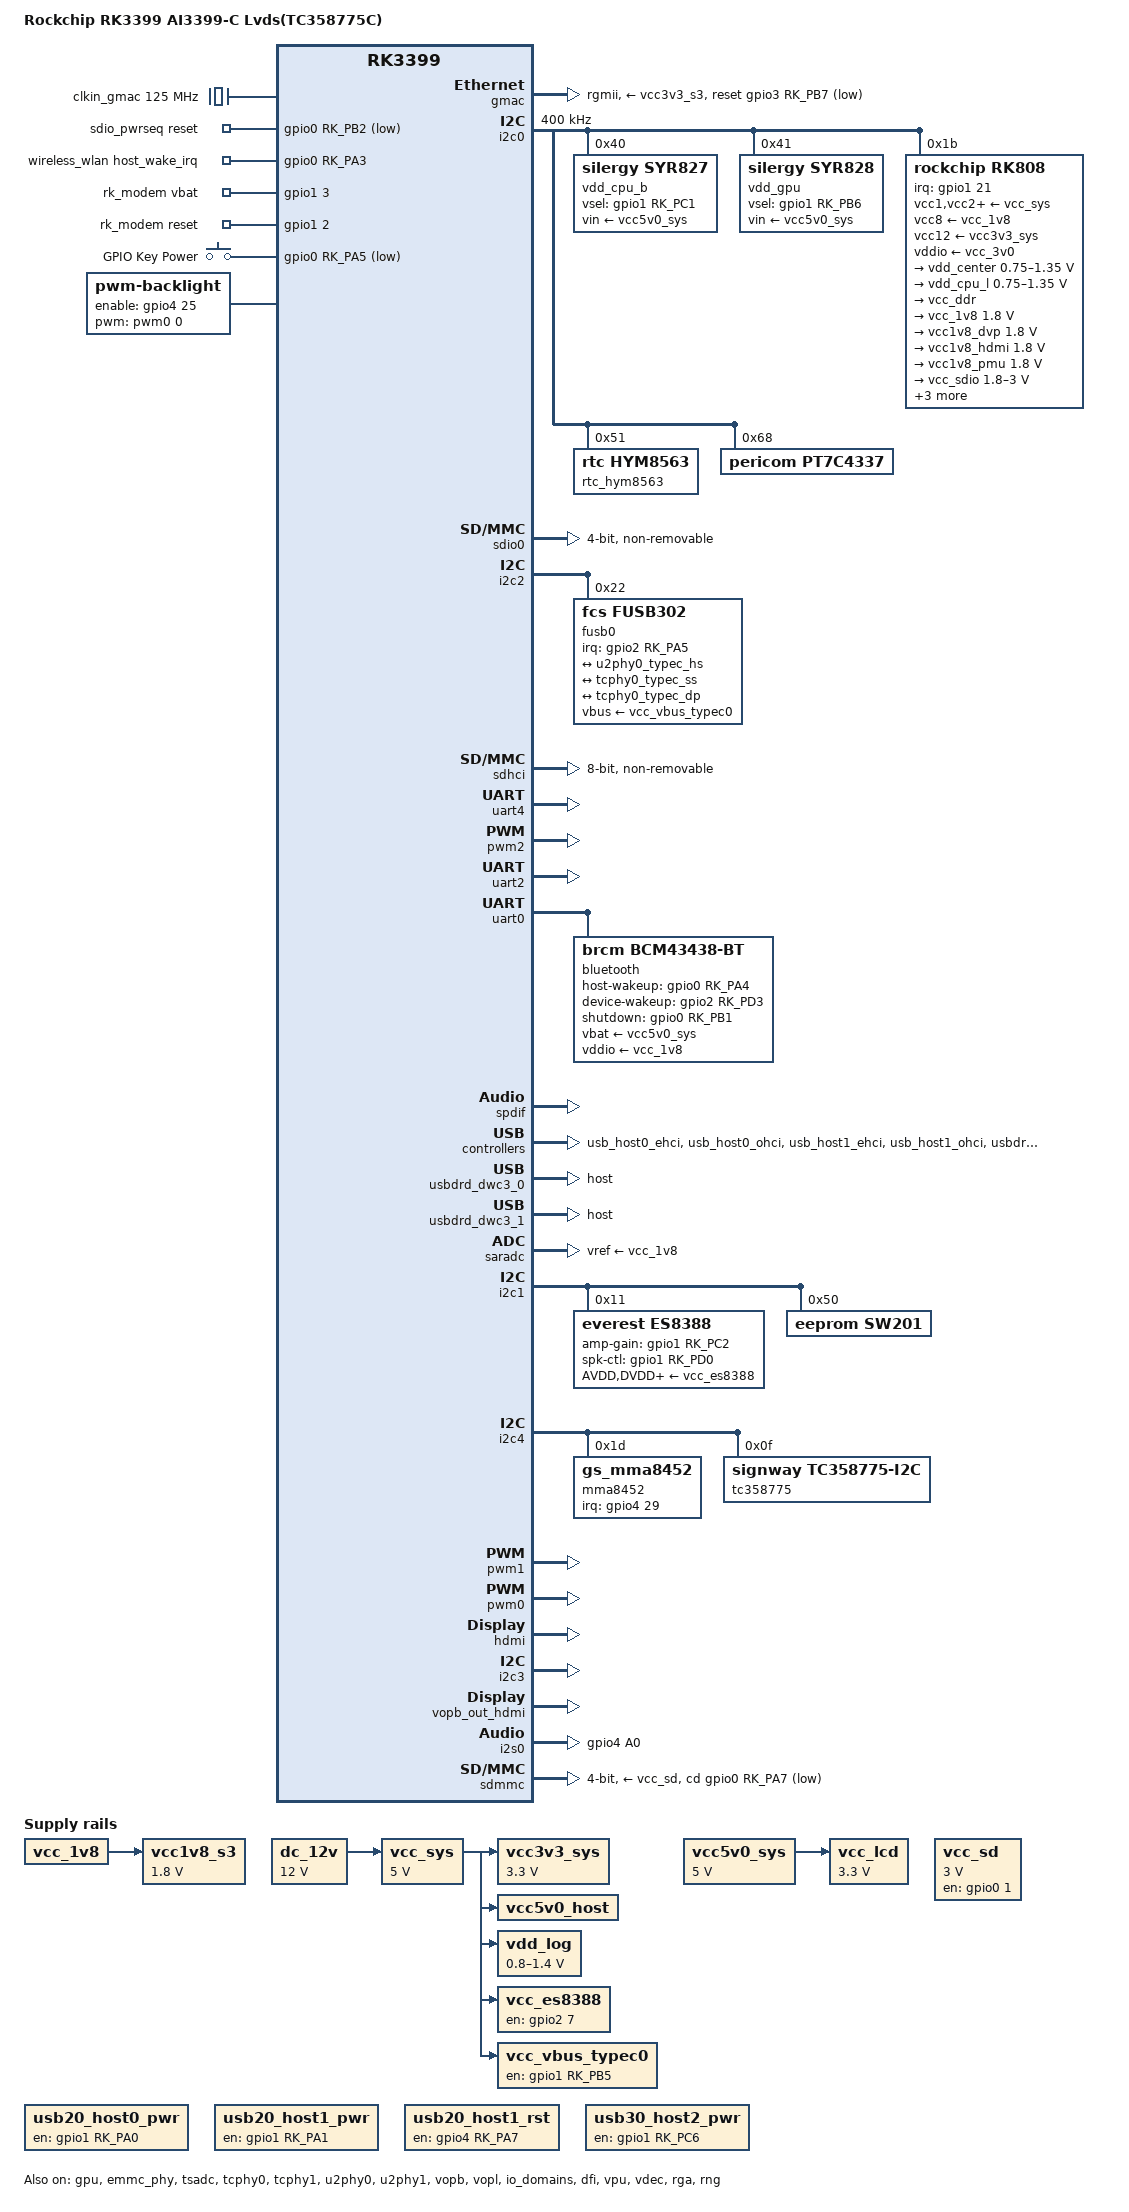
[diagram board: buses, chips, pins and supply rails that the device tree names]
/dts-v1/;
#include <dt-bindings/pwm/pwm.h>
#include <dt-bindings/input/input.h>
#include <dt-bindings/usb/pd.h>
#include "rk3399.dtsi"
#include "rk3399-opp.dtsi"

/ {
	compatible = "rockchip,android", "rockchip,rk3399-ai3399c-lvds", "rockchip,rk3399";
	serial-number = "STVQPGOW8K";
	model = "Rockchip RK3399 AI3399-C Lvds(TC358775C)";
	signway,hwid = "01.02.03.04.05.06.07.08";

	aliases {
		mmc0 = &sdhci;
	};

	chosen {
		stdout-path = "serial2:1500000n8";
		bootargs = "earlycon=uart8250,mmio32,0xff1a0000 console=ttyS2,1500000n8";
	};

	clkin_gmac: external-gmac-clock {
		compatible = "fixed-clock";
		clock-frequency = <125000000>;
		clock-output-names = "clkin_gmac";
		#clock-cells = <0>;
	};

    dc_12v: dc-12v {
        compatible = "regulator-fixed";
        regulator-name = "dc_12v";
        regulator-always-on;
        regulator-boot-on;
        regulator-min-microvolt = <12000000>;
        regulator-max-microvolt = <12000000>;
    };
    vcc1v8_s3: vcc1v8-s3 {
        compatible = "regulator-fixed";
        regulator-name = "vcc1v8_s3";
        regulator-always-on;
        regulator-boot-on;
        regulator-min-microvolt = <1800000>;
        regulator-max-microvolt = <1800000>;
        vin-supply = <&vcc_1v8>;
    };
    vcc_sys: vcc-sys {
        compatible = "regulator-fixed";
        regulator-name = "vcc_sys";
        regulator-always-on;
        regulator-boot-on;
        regulator-min-microvolt = <5000000>;
        regulator-max-microvolt = <5000000>;
        vin-supply = <&dc_12v>;
    };
    vcc3v3_sys: vcc3v3-sys {
        compatible = "regulator-fixed";
        regulator-name = "vcc3v3_sys";
        regulator-always-on;
        regulator-boot-on;
        regulator-min-microvolt = <3300000>;
        regulator-max-microvolt = <3300000>;
        vin-supply = <&vcc_sys>;
    };
    vcc5v0_host: vcc5v0-host-regulator {
        compatible = "regulator-fixed";
        regulator-name = "vcc5v0_host";
        regulator-always-on;
        vin-supply = <&vcc_sys>;
    };
    vcc5v0_sys: vcc5v0-sys {
        compatible = "regulator-fixed";
        regulator-name = "vcc5v0_sys";
        regulator-always-on;
        regulator-boot-on;
        regulator-min-microvolt = <5000000>;
        regulator-max-microvolt = <5000000>;
    };
    vdd_log: vdd-log {
        compatible = "pwm-regulator";
        pwms = <&pwm2 0x0 25000 0x1>;
        rockchip,pwm_id = <2>;
        rockchip,pwm_voltage = <1000000>;
        regulator-name = "vdd_log";
        regulator-always-on;
        regulator-boot-on;
        regulator-min-microvolt = <800000>;
        regulator-max-microvolt = <1400000>;
        vin-supply = <&vcc_sys>;
    };
    vcc_es8388: vcc-es8388-regulator {
        compatible = "regulator-fixed";
        enable-active-high;
        gpio = <&gpio2 7 GPIO_ACTIVE_HIGH>;
        pinctrl-names = "default";
        pinctrl-0 = <&es8388_en>; //待引用
        regulator-name = "vcc_es8388";
		regulator-boot-on;
        regulator-always-on;
        vin-supply = <&vcc_sys>;
    };
    vcc_sd: vcc-sd {
        compatible = "regulator-fixed";
        enable-active-high;
        gpio = <&gpio0 1 GPIO_ACTIVE_HIGH>;
        pinctrl-names = "default";
        pinctrl-0 = <&sdmmc0_pwr_h>;//待引用
        regulator-always-on;
        regulator-max-microvolt = <3000000>;
        regulator-min-microvolt = <3000000>;
        regulator-name = "vcc_sd";
    };
    vcc_lcd: vcc-lcd {
        compatible = "regulator-fixed";
        regulator-name = "vcc_lcd";
        startup-delay-us = <20000>;
        regulator-min-microvolt = <3300000>;
        regulator-max-microvolt = <3300000>;
        regulator-always-on;
        regulator-boot-on;
        vin-supply = <&vcc5v0_sys>;
    };
	sdio_pwrseq: sdio-pwrseq {
		compatible = "mmc-pwrseq-simple";
		clocks = <&rk808 1>;
		clock-names = "ext_clock";
		pinctrl-names = "default";
        pinctrl-0 = <&wifi_enable_h>;//待引用
        reset-gpios = <&gpio0 RK_PB2 GPIO_ACTIVE_LOW>;
	};
	//测试下wifi
    wireless_wlan: wireless-wlan {//抄袭
        compatible = "wlan-platdata";
        rockchip,grf = <&grf>;//待引用
        wifi_chip_type = "rtl8723ds";
		pinctrl-0 = <&wifi_host_wake_l>;
        WIFI,host_wake_irq = <&gpio0 RK_PA3 GPIO_ACTIVE_HIGH>;//待引用
        status = "okay";
    };
	/*
    wireless_bluetooth: wireless-bluetooth {
        compatible = "bluetooth-platdata";
        clocks = <&rk808 1>;
        clock-names = "ext_clock";
        uart_rts_gpios = <&gpio2 19 GPIO_ACTIVE_LOW>;
        pinctrl-names = "default\0rts_gpio";
        pinctrl-0 = <&uart0_rts>;//待引用
        pinctrl-1 = <&uart0_gpios &bt_rst>;//待引用
        BT,reset_gpio = <&gpio0 9 GPIO_ACTIVE_HIGH>;
        BT,wake_gpio = <&gpio2 27 GPIO_ACTIVE_HIGH>;
        BT,wake_host_irq = <&gpio0 4 GPIO_ACTIVE_HIGH>;
        status = "okay";
    };*/
	//改供电
	usb20_host0_pwr {
		status = "okay";
		compatible = "regulator-fixed";
		enable-active-high;
		gpio = <&gpio1 RK_PA0 GPIO_ACTIVE_HIGH>;
		pinctrl-0 = <&usb20_host0_pwr_gpio>;
		pinctrl-names = "default";
		regulator-name = "usb20_host0_pwr";
		regulator-always-on;
	};
	usb20_host1_pwr {
		status = "okay";
		compatible = "regulator-fixed";
		enable-active-high;
		gpio = <&gpio1 RK_PA1 GPIO_ACTIVE_HIGH>;
		pinctrl-0 = <&usb20_host1_pwr_gpio>;
		pinctrl-names = "default";
		regulator-name = "usb20_host1_pwr";
		regulator-always-on;
	};
	usb20_host1_rst {
		status = "okay";
		compatible = "regulator-fixed";
		enable-active-high;
		gpio = <&gpio4 RK_PA7 GPIO_ACTIVE_HIGH>;
		pinctrl-0 = <&usb20_host1_rst_gpio>;
		pinctrl-names = "default";
		regulator-name = "usb20_host1_rst";
		regulator-always-on;
	};
	usb30_host2_pwr {
		status = "okay";
		compatible = "regulator-fixed";
		enable-active-high;
		gpio = <&gpio1 RK_PC6 GPIO_ACTIVE_HIGH>;
		pinctrl-0 = <&usb30_host2_pwr_gpio>;
		pinctrl-names = "default";
		regulator-name = "usb30_host2_pwr";
		regulator-always-on;
	};
	vcc_vbus_typec0: vcc-vbus-typec0 {
		compatible = "regulator-fixed";
		enable-active-high;
		gpio = <&gpio1 RK_PB5 GPIO_ACTIVE_HIGH>;
		pinctrl-names = "default";
		pinctrl-0 = <&vcc_vbus_typec0_en>;
		regulator-name = "vcc_vbus_typec0";
		//这里要修改,不需要常亮
		//regulator-always-on;
		vin-supply = <&vcc_sys>;
	};
	//可能没驱动,注意,可能需要替换成 gpio-leds
	/*
    signway_gpio: signway-gpio {
        status = "okay";
        compatible = "signway,gpio";
        usb20-host0-pwr {
            label = "usb20-host0-pwr";
            gpios = <&gpio1 0 GPIO_ACTIVE_HIGH>;
            default-state = <0x1>;
        };
        usb20-host1-pwr {
            label = "usb20-host1-pwr";
            gpios = <&gpio1 1 GPIO_ACTIVE_HIGH>;
            default-state = <0x1>;
        };
        usb20-host1-rst {
            label = "usb20-host1-rst";
            gpios = <&gpio4 7 GPIO_ACTIVE_HIGH>;
            default-state = <0x1>;
        };
        usb30-host2-pwr {
            label = "usb30-host2-pwr";
            gpios = <&gpio1 22 GPIO_ACTIVE_HIGH>;
            default-state = <0x1>;
        };
    };*/
    rk_modem: rk-modem {
        compatible = "4g-modem-platdata";
        pinctrl-names = "default";
        pinctrl-0 = <&lte_vbat &lte_reset>;//待引用
        4G,vbat-gpio = <&gpio1 3 GPIO_ACTIVE_HIGH>;
        4G,reset-gpio = <&gpio1 2 GPIO_ACTIVE_HIGH>;
        status = "okay";
    };
	es8388_sound: es8388-sound {
        compatible = "simple-audio-card";
        simple-audio-card,format = "i2s";
        simple-audio-card,name = "rockchip,es8388-codec";
        simple-audio-card,mclk-fs = <0x100>;
		simple-audio-card,widgets = "Microphone", "Mic Jack", 
									"Headphone", "Headphone Jack";
		simple-audio-card,routing = "Mic Jack", "MICBIAS1", "IN1P","Mic Jack", 
									"Headphone Jack", "HPOL", "Headphone Jack", "HPOR";
        status = "okay";
        simple-audio-card,cpu {
            sound-dai = <&i2s0>;
        };
        simple-audio-card,codec {
            sound-dai = <&es8388>;
        };
	};
	gpio-keys {
		compatible = "gpio-keys";
		autorepeat;
		pinctrl-names = "default";
		pinctrl-0 = <&pwr_btn>;
		status = "okay";

		power {
			debounce-interval = <0x64>;
			gpios = <&gpio0 RK_PA5 GPIO_ACTIVE_LOW>;
			
			label = "GPIO Key Power";
			linux,code = <0x74>;
			wakeup-source;
		};
	};
    backlight {
		//暂时禁用,因为没人用
        //status = "okay";
		status = "okay";
        compatible = "pwm-backlight";
        brightness-levels = <0x2F 0x2F 0x2F 0x2F 0x2F 0x2F 0x30 0x30 0x31 0x31 0x32 0x32 0x33 0x33 0x34 0x34 0x35 0x35 0x36 0x36 0x37 0x37 0x38 0x38 0x39 0x39 0x3A 0x3A 0x3B 0x3B 0x3C 0x3C 0x3D 0x3D 0x3E 0x3E 0x3F 0x3F 0x40 0x40 0x41 0x41 0x42 0x42 0x43 0x43 0x44 0x44 0x45 0x45 0x46 0x46 0x47 0x47 0x48 0x48 0x49 0x49 0x4A 0x4A 0x4B 0x4B 0x4C 0x4C 0x4D 0x4D 0x4E 0x4E 0x4F 0x4F 0x50 0x50 0x51 0x51 0x52 0x52 0x53 0x53 0x54 0x54 0x55 0x55 0x56 0x56 0x57 0x57 0x58 0x58 0x59 0x59 0x5A 0x5B 0x5C 0x5D 0x5E 0x5F 0x60 0x61 0x62 0x63 0x64 0x65 0x66 0x67 0x68 0x69 0x6A 0x6B 0x6C 0x6D 0x6E 0x6F 0x70 0x71 0x72 0x73 0x74 0x75 0x76 0x77 0x78 0x79 0x7A 0x7B 0x7C 0x7D 0x7E 0x7F 0x80 0x81 0x82 0x83 0x84 0x85 0x86 0x87 0x88 0x89 0x8A 0x8B 0x8C 0x8D 0x8E 0x8F 0x90 0x91 0x92 0x93 0x94 0x95 0x96 0x97 0x98 0x99 0x9A 0x9B 0x9C 0x9D 0x9E 0x9F 0xA0 0xA1 0xA2 0xA3 0xA4 0xA5 0xA6 0xA7 0xA8 0xA9 0xAA 0xAB 0xAC 0xAD 0xAE 0xAF 0xB0 0xB1 0xB2 0xB3 0xB4 0xB5 0xB6 0xB7 0xB8 0xB9 0xBA 0xBB 0xBC 0xBD 0xBE 0xBF 0xC0 0xC1 0xC2 0xC3 0xC4 0xC5 0xC6 0xC7 0xC8 0xC9 0xCA 0xCB 0xCC 0xCD 0xCE 0xCF 0xD0 0xD1 0xD2 0xD3 0xD4 0xD5 0xD6 0xD7 0xD8 0xD9 0xDA 0xDB 0xDC 0xDD 0xDE 0xDF 0xE0 0xE1 0xE2 0xE3 0xE4 0xE5 0xE6 0xE7 0xE8 0xE9 0xEA 0xEB 0xEC 0xED 0xEE 0xEF 0xF0 0xF1 0xF2 0xF3 0xF4 0xF5 0xF6 0xF7 0xF8 0xF9 0xFA 0xFB 0xFC 0xFD 0xFE 0xFF>;
        default-brightness-level = <200>;
        enable-gpios = <&gpio4 25 GPIO_ACTIVE_HIGH>;
		//pinctrl-names = "default";
		//pinctrl-0 = <&backlight_ctrl>;
        pwms = <&pwm0 0 5000000 1>;
    };
};

&cpu_l0 {
	cpu-supply = <&vdd_cpu_l>;
};

&cpu_l1 {
	cpu-supply = <&vdd_cpu_l>;
};

&cpu_l2 {
	cpu-supply = <&vdd_cpu_l>;
};

&cpu_l3 {
	cpu-supply = <&vdd_cpu_l>;
};

&cpu_b0 {
	cpu-supply = <&vdd_cpu_b>;
};

&cpu_b1 {
	cpu-supply = <&vdd_cpu_b>;
};

&gpu {
	mali-supply = <&vdd_gpu>;
	status = "okay";
};

&emmc_phy {
	status = "okay";
};

&gmac {
	phy-supply = <&vcc3v3_s3>;
	phy-mode = "rgmii";
	clock_in_out = "input";
	snps,reset-gpio = <&gpio3 RK_PB7 GPIO_ACTIVE_LOW>;
	snps,reset-active-low;
	snps,reset-delays-us = <0 10000 50000>;
	assigned-clocks = <&cru SCLK_RMII_SRC>;
	assigned-clock-parents = <&clkin_gmac>;
	pinctrl-names = "default";
	pinctrl-0 = <&rgmii_pins>;
	tx_delay = <0x34>;
	rx_delay = <0x27>;
	status = "okay";
};

&i2c0 {
	status = "okay";
	i2c-scl-rising-time-ns = <168>;
	i2c-scl-falling-time-ns = <4>;
	clock-frequency = <400000>;

	vdd_cpu_b: syr827@40 {
		compatible = "silergy,syr827";
		reg = <0x40>;
		vin-supply = <&vcc5v0_sys>;
		regulator-compatible = "fan53555-reg";
		pinctrl-0 = <&vsel1_gpio>;
		vsel-gpios = <&gpio1 RK_PC1 GPIO_ACTIVE_HIGH>;
		regulator-name = "vdd_cpu_b";
		regulator-min-microvolt = <712500>;
		regulator-max-microvolt = <1500000>;
		regulator-ramp-delay = <1000>;
		fcs,suspend-voltage-selector = <1>;
		regulator-always-on;
		regulator-boot-on;
		regulator-initial-state = <3>;

		regulator-state-mem {
			regulator-off-in-suspend;
		};
	};

	vdd_gpu: syr828@41 {
		compatible = "silergy,syr828";
		reg = <0x41>;
		vin-supply = <&vcc5v0_sys>;
		regulator-compatible = "fan53555-reg";
		pinctrl-names = "default";
		pinctrl-0 = <&vsel2_gpio>;
		vsel-gpios = <&gpio1 RK_PB6 GPIO_ACTIVE_HIGH>;
		regulator-name = "vdd_gpu";
		regulator-min-microvolt = <712500>;
		regulator-max-microvolt = <1500000>;
		regulator-ramp-delay = <1000>;
		fcs,suspend-voltage-selector = <1>;
		regulator-always-on;
		regulator-boot-on;
		regulator-initial-state = <3>;

		regulator-state-mem {
			regulator-off-in-suspend;
		};
	};

	rk808: pmic@1b {
		compatible = "rockchip,rk808";
		reg = <0x1b>;
		interrupt-parent = <&gpio1>;
		interrupts = <21 IRQ_TYPE_LEVEL_LOW>;
		pinctrl-names = "default";
		pinctrl-0 = <&pmic_int_l>;
		rockchip,system-power-controller;
		wakeup-source;
		#clock-cells = <1>;
		clock-output-names = "xin32k", "rk808-clkout2";
		vcc1-supply = <&vcc_sys>;
		vcc2-supply = <&vcc_sys>;
		vcc3-supply = <&vcc_sys>;
		vcc4-supply = <&vcc_sys>;
		vcc6-supply = <&vcc_sys>;
		vcc7-supply = <&vcc_sys>;
		vcc8-supply = <&vcc_1v8>;
		vcc9-supply = <&vcc_sys>;
		vcc10-supply = <&vcc_sys>;
		vcc11-supply = <&vcc_sys>;
		vcc12-supply = <&vcc3v3_sys>;
		vddio-supply = <&vcc_3v0>;
		rtc {
			status = "okay";
		};
		regulators {

			vdd_center: DCDC_REG1 {
				regulator-always-on;
				regulator-boot-on;
				regulator-min-microvolt = <750000>;
				regulator-max-microvolt = <1350000>;
				regulator-ramp-delay = <6001>;
				regulator-name = "vdd_center";

				regulator-state-mem {
					regulator-off-in-suspend;
				};
			};

			vdd_cpu_l: DCDC_REG2 {
				regulator-always-on;
				regulator-boot-on;
				regulator-min-microvolt = <750000>;
				regulator-max-microvolt = <1350000>;
				regulator-ramp-delay = <6001>;
				regulator-name = "vdd_cpu_l";

				regulator-state-mem {
					regulator-off-in-suspend;
				};
			};

			vcc_ddr: DCDC_REG3 {
				regulator-always-on;
				regulator-boot-on;
				regulator-name = "vcc_ddr";

				regulator-state-mem {
					regulator-on-in-suspend;
				};
			};

			vcc_1v8: DCDC_REG4 {
				regulator-always-on;
				regulator-boot-on;
				regulator-min-microvolt = <1800000>;
				regulator-max-microvolt = <1800000>;
				regulator-name = "vcc_1v8";

				regulator-state-mem {
					regulator-on-in-suspend;
					regulator-suspend-microvolt = <1800000>;
				};
			};

			vcc1v8_dvp: LDO_REG1 {
				regulator-always-on;
				regulator-boot-on;
				regulator-min-microvolt = <1800000>;
				regulator-max-microvolt = <1800000>;
				regulator-name = "vcc1v8_dvp";

				regulator-state-mem {
					regulator-off-in-suspend;
				};
			};

			vcc1v8_hdmi: LDO_REG2 {
				regulator-name = "vcc1v8_hdmi";
				regulator-always-on;
				regulator-boot-on;
				regulator-min-microvolt = <1800000>;
				regulator-max-microvolt = <1800000>;
				regulator-state-mem {
					regulator-on-in-suspend;
					regulator-suspend-microvolt = <1800000>;
				};
			};

			vcc1v8_pmu: LDO_REG3 {
				regulator-always-on;
				regulator-boot-on;
				regulator-min-microvolt = <1800000>;
				regulator-max-microvolt = <1800000>;
				regulator-name = "vcc1v8_pmu";

				regulator-state-mem {
					regulator-on-in-suspend;
					regulator-suspend-microvolt = <1800000>;
				};
			};

			vcc_sdio: LDO_REG4 {
				regulator-always-on;
				regulator-boot-on;
				regulator-min-microvolt = <1800000>;
				regulator-max-microvolt = <3000000>;
				regulator-name = "vcc_sdio";

				regulator-state-mem {
					regulator-on-in-suspend;
					regulator-suspend-microvolt = <3000000>;
				};
			};

			vcca3v0_tp: LDO_REG5 {
				regulator-always-on;
				regulator-boot-on;
				regulator-min-microvolt = <3000000>;
				regulator-max-microvolt = <3000000>;
				regulator-name = "vcca3v0_codec";

				regulator-state-mem {
					regulator-off-in-suspend;
				};
			};

			vcc_1v5: LDO_REG6 {
				regulator-always-on;
				regulator-boot-on;
				regulator-min-microvolt = <1500000>;
				regulator-max-microvolt = <1500000>;
				regulator-name = "vcc_1v5";

				regulator-state-mem {
					regulator-on-in-suspend;
					regulator-suspend-microvolt = <1500000>;
				};
			};

			vcca0v9_hdmi: LDO_REG7 {
				regulator-name = "vcca0v9_hdmi";
				regulator-always-on;
				regulator-boot-on;
				regulator-min-microvolt = <900000>;
				regulator-max-microvolt = <900000>;
				regulator-state-mem {
					regulator-on-in-suspend;
					regulator-suspend-microvolt = <900000>;
				};
			};

			vcc_3v0: LDO_REG8 {
				regulator-always-on;
				regulator-boot-on;
				regulator-min-microvolt = <3000000>;
				regulator-max-microvolt = <3000000>;
				regulator-name = "vcc_3v0";

				regulator-state-mem {
					regulator-on-in-suspend;
					regulator-suspend-microvolt = <3000000>;
				};
			};

			vcc3v3_s3: SWITCH_REG1 {
				regulator-always-on;
				regulator-boot-on;
				regulator-name = "vcc3v3_s3";

				regulator-state-mem {
					regulator-on-in-suspend;
				};
			};

			vcc3v3_s0: SWITCH_REG2 {
				regulator-always-on;
				regulator-boot-on;
				regulator-name = "vcc3v3_s0";

				regulator-state-mem {
					regulator-on-in-suspend;
				};
			};
		};
	};
	rtc_hym8563: rtc_hym8563@51 {
		status = "okay";
		compatible = "rtc,hym8563";
		reg = <0x51>;
	};
	/*未驱动,待驱动*/
	pt7c4337: pt7c4337@68 {
		status = "okay";
		compatible = "pericom,pt7c4337";
		reg = <0x68>;
	};
};

&sdio0 {
	bus-width = <4>;
	cap-sdio-irq;
	cap-sd-highspeed;
	keep-power-in-suspend;
	mmc-pwrseq = <&sdio_pwrseq>;
	non-removable;
	pinctrl-names = "default";
	pinctrl-0 = <&sdio0_bus4 &sdio0_cmd &sdio0_clk>;
	sd-uhs-sdr104;
	keep-power-in-suspend;
	#address-cells = <1>;
	#size-cells = <0>;
	status = "okay";//有bug先禁用
	/*
	wifi@1 {
		reg = <1>;
		compatible = "brcm,bcm4329-fmac";
		interrupt-parent = <&gpio0>;
		interrupts = <RK_PA3 GPIO_ACTIVE_HIGH>;
		interrupt-names = "host-wake";
		brcm,drive-strength = <5>;
		pinctrl-names = "default";
	};*/
};
//设备树,平坦增加,但是新增就不能平坦,要嵌套.
//没驱动
/*
&i2c2 {
	status = "okay";
	fusb0: fusb30x@22 {
		compatible = "fcs,fusb302";
		reg = <0x22>;
		pinctrl-names = "default";
		pinctrl-0 = <&fusb0_int>;
		int-n-gpios = <&gpio2 5 GPIO_ACTIVE_HIGH>;
		vbus-5v-gpios = <&gpio1 13 GPIO_ACTIVE_HIGH>;
		status = "okay";
	};
};*/
&i2c2 {
	status = "okay";
	fusb0: fusb30x@22 {
		compatible = "fcs,fusb302";
		reg = <0x22>;
		pinctrl-names = "default";
		pinctrl-0 = <&fusb0_int>;
		
		interrupt-parent = <&gpio2>;
		interrupts = <RK_PA5 IRQ_TYPE_LEVEL_LOW>;
		vbus-supply = <&vcc_vbus_typec0>;
		//vbus-5v-gpios = <&gpio1 13 GPIO_ACTIVE_HIGH>;
		status = "okay";
		typec_con: connector {
			compatible = "usb-c-connector";
			data-role = "dual";
			label = "USB-C";
			op-sink-microwatt = <1000000>;
			power-role = "dual";
			
			sink-pdos =
				<PDO_FIXED(5000, 2500, PDO_FIXED_USB_COMM)>;
			source-pdos =
				<PDO_FIXED(5000, 1400, PDO_FIXED_USB_COMM)>;
			try-power-role = "sink";
			ports {
				#address-cells = <1>;
				#size-cells = <0>;

				port@0 {
					reg = <0>;
					typec_hs: endpoint {
						remote-endpoint = <&u2phy0_typec_hs>;
					};
				};
				port@1 {
					reg = <1>;
					typec_ss: endpoint {
						remote-endpoint = <&tcphy0_typec_ss>;
					};
				};
				port@2 {
					reg = <2>;
					typec_dp: endpoint {
						remote-endpoint = <&tcphy0_typec_dp>;
					};
				};
			};
		};
	};
};
/*
从firefly抄袭的节点
&i2c4 {
	i2c-scl-rising-time-ns = <600>;
	i2c-scl-falling-time-ns = <20>;
	status = "okay";

	fusb1: usb-typec@22 {
		compatible = "fcs,fusb302";
		reg = <0x22>;
		interrupt-parent = <&gpio1>;
		interrupts = <1 IRQ_TYPE_LEVEL_LOW>;
		pinctrl-names = "default";
		pinctrl-0 = <&fusb1_int>;
		vbus-supply = <&vcc_vbus_typec1>;
		status = "okay";
	};
};
*/
&sdhci {
	bus-width = <8>;
	mmc-hs400-1_8v;
	mmc-hs400-enhanced-strobe;
	keep-power-in-suspend;
	non-removable;
	supports-emmc;
	status = "okay";
};
&uart4{
	status = "okay";
};
&tsadc {
	status = "okay";
	rockchip,hw-tshut-mode = <1>;
	rockchip,hw-tshut-polarity = <1>;
};

&pwm2 {
	status = "okay";
};

&uart2 {
	status = "okay";
};
//试试蓝牙
&uart0 {
	pinctrl-names = "default";
	pinctrl-0 = <&uart0_xfer &uart0_cts &uart0_rts>;
	status = "okay";

	bluetooth {
		compatible = "brcm,bcm43438-bt";
		clocks = <&rk808 1>;
		clock-names = "extclk";
		host-wakeup-gpios = <&gpio0 RK_PA4 GPIO_ACTIVE_HIGH>;
		device-wakeup-gpios = <&gpio2 RK_PD3 GPIO_ACTIVE_HIGH>;
		shutdown-gpios = <&gpio0 RK_PB1 GPIO_ACTIVE_HIGH>;
		pinctrl-names = "default";
		pinctrl-0 = <&bt_host_wake_l &bt_wake_l &bt_reg_on_h>;
		vbat-supply = <&vcc5v0_sys>;
		vddio-supply = <&vcc_1v8>;
	};
};
	/*参考
    wireless_bluetooth: wireless-bluetooth {
        compatible = "bluetooth-platdata";
        clocks = <&rk808 1>;
        clock-names = "ext_clock";
        uart_rts_gpios = <&gpio2 19 GPIO_ACTIVE_LOW>;
        pinctrl-names = "default\0rts_gpio";
        pinctrl-0 = <&uart0_rts>;//待引用
        pinctrl-1 = <&uart0_gpios &bt_rst>;//待引用
        BT,reset_gpio = <&gpio0 9 GPIO_ACTIVE_HIGH>;
        BT,wake_gpio = <&gpio2 27 GPIO_ACTIVE_HIGH>;
        BT,wake_host_irq = <&gpio0 4 GPIO_ACTIVE_HIGH>;
        status = "okay";
    };*/
&tcphy0 {
	status = "okay";
};
&tcphy0_dp { // verify
	port {
		tcphy0_typec_dp: endpoint {
			remote-endpoint = <&typec_dp>;
		};
	};
};
&tcphy0_usb3 { // verify
	port {
		tcphy0_typec_ss: endpoint {
			remote-endpoint = <&typec_ss>;
		};
	};
};
&tcphy1 {
	status = "okay";
};

&u2phy0 {
	status = "okay";

	u2phy0_otg: otg-port {
		status = "okay";
	};

	u2phy0_host: host-port {
		phy-supply = <&vcc5v0_host>;
		status = "okay";
	};

	port {
		u2phy0_typec_hs: endpoint {
			remote-endpoint = <&typec_hs>;
		};
	};
};
&u2phy1 {
	status = "okay";

	u2phy1_otg: otg-port {
		status = "okay";
	};

	u2phy1_host: host-port {
		phy-supply = <&vcc5v0_host>;
		status = "okay";
	};
};
&spdif {
	status = "okay";
	i2c-scl-rising-time-ns = <450>;
	i2c-scl-falling-time-ns = <15>;
};
&usb_host0_ehci {
	status = "okay";
};

&usb_host0_ohci {
	status = "okay";
};

&usb_host1_ehci {
	status = "okay";
};

&usb_host1_ohci {
	status = "okay";
};

&usbdrd3_0 {
	status = "okay";
};

&usbdrd_dwc3_0 {
	status = "okay";
	dr_mode = "host";
	//extcon = <&fusb0>;
	
};

&usbdrd3_1 {
	status = "okay";
};

&usbdrd_dwc3_1 {
	status = "okay";
	dr_mode = "host";
};
&pinctrl {
	/*
	sleep {
		ap_pwroff: ap-pwroff {
			rockchip,pins = <1 RK_PA5 1 &pcfg_pull_none>;
		};
		ddrio_pwroff: ddrio-pwroff {
			rockchip,pins = <0 RK_PA1 1 &pcfg_pull_none>;
		};
	};*/
	backlight-enable {
		bl_edp_enable_gpio: bl-edp-enable-gpio {
			rockchip,pins = <0 RK_PB1 RK_FUNC_GPIO &pcfg_pull_none>;
		};
	
		bl-edp-pwr-gpio {
			rockchip,pins = <4 RK_PD1 RK_FUNC_GPIO &pcfg_pull_none>;
		};
	};
	wireless-bluetooth {
		uart0_gpios: uart0-gpios {
			rockchip,pins = <2 RK_PC3 RK_FUNC_GPIO &pcfg_pull_none>;
		};
		bt_rst: bt-rst {
			rockchip,pins = <0 RK_PB1 RK_FUNC_GPIO &pcfg_pull_none>;
		};
	};
	wifi {
		wifi_host_wake_l: wifi-host-wake-l {
			rockchip,pins = <0 RK_PA3 RK_FUNC_GPIO &pcfg_pull_none>; // checked
		};
	};
	es8388_power {
		es8388_en: es8388-en {
			rockchip,pins = <2 RK_PA7 RK_FUNC_GPIO &pcfg_pull_none>;
		};
	};
	fusb30x {
		fusb0_int: fusb0-int {
			rockchip,pins = <2 RK_PA5 RK_FUNC_GPIO &pcfg_pull_up>;
		};
	};
	4g-moudle {
		lte_vbat: lte-vbat {
			rockchip,pins = <1 RK_PA3 RK_FUNC_GPIO &pcfg_pull_none>;
		};
		lte_reset: lte-reset {
			rockchip,pins = <1 RK_PA2 RK_FUNC_GPIO &pcfg_pull_none>;
		};
	};
	mma8452 {
		mma8452_irq_gpio: mma8452-irq-gpio {
			rockchip,pins = <4 RK_PD5 RK_FUNC_GPIO &pcfg_pull_none>;
		};
	};
	tsadc {
		otp_gpio: otp-gpio {
			rockchip,pins = <1 RK_PA6 RK_FUNC_GPIO &pcfg_pull_none>;
		};
		otp_out: otp-out {
			rockchip,pins = <1 RK_PA6 1 &pcfg_pull_none>;
		};
	};
	pmic {
		pmic_int_l: pmic-int-l {
			rockchip,pins = <1 RK_PC5 RK_FUNC_GPIO &pcfg_pull_up>;
		};
		vsel1_gpio: vsel1-gpio {
			rockchip,pins = <1 RK_PC1 RK_FUNC_GPIO &pcfg_pull_down>;
		};
		vsel2_gpio: vsel2-gpio {
			rockchip,pins = <1 RK_PB6 RK_FUNC_GPIO &pcfg_pull_down>;
		};
	};
	buttons {
		pwr_btn: pwr-btn {
			rockchip,pins = <0 RK_PA5 RK_FUNC_GPIO &pcfg_pull_up>;
		};
	};
	sd {
		sdmmc0_pwr_h: sdmmc0-pwr-h {
			rockchip,pins = <0 RK_PA1 RK_FUNC_GPIO &pcfg_pull_none>;
		};
	};
	sdio-pwrseq {
		wifi_enable_h: wifi-enable-h {
			rockchip,pins = <0 RK_PB2 RK_FUNC_GPIO &pcfg_pull_none>;
		};
	};
	bluetooth {
		bt_reg_on_h: bt-enable-h {
			rockchip,pins = <0 RK_PB1 RK_FUNC_GPIO &pcfg_pull_none>; // checked
		};

		bt_host_wake_l: bt-host-wake-l {
			rockchip,pins = <0 RK_PA4 RK_FUNC_GPIO &pcfg_pull_none>; // checked
		};

		bt_wake_l: bt-wake-l {
			rockchip,pins = <2 RK_PD3 RK_FUNC_GPIO &pcfg_pull_none>; // checked
		};
	};
	usb-typec {
		vcc_vbus_typec0_en: vcc-vbus-typec0-en {
			rockchip,pins = <1 RK_PB5 RK_FUNC_GPIO &pcfg_pull_none>;
		};
	};
	i2s0 {
		i2s_8ch_mclk_pin: i2s-8ch-mclk-pin {
			rockchip,pins = <4 RK_PA0 1 &pcfg_pull_none>; // verify
		};
	};
	usb-power {
		usb20_host0_pwr_gpio: usb20-host0-pwr-gpio {
			rockchip,pins = <1 RK_PA0 RK_FUNC_GPIO &pcfg_pull_none>; // verify
		};
		usb20_host1_pwr_gpio: usb20-host1-pwr-gpio {
			rockchip,pins = <1 RK_PA1 RK_FUNC_GPIO &pcfg_pull_none>; // verify
		};
		usb20_host1_rst_gpio: usb20-host1-rst-gpio {
			rockchip,pins = <4 RK_PA7 RK_FUNC_GPIO &pcfg_pull_none>; // verify
		};
		usb30_host2_pwr_gpio: usb30-host2-pwr-gpio {
			rockchip,pins = <1 RK_PC6 RK_FUNC_GPIO &pcfg_pull_none>; // verify
		};
	};
	es8388 {
		amp_gain: amp-gain {
			rockchip,pins = <1 RK_PC2 RK_FUNC_GPIO &pcfg_pull_none>;
		};
	
		spk_ctl: spk-ctl {
			rockchip,pins = <1 RK_PD0 RK_FUNC_GPIO &pcfg_pull_none>;
		};
	};
};

&tsadc {
	status = "okay";
	rockchip,hw-tshut-temp = <120000>;
	rockchip,hw-tshut-mode = <1>;
	rockchip,hw-tshut-polarity = <1>;
};
&saradc {
	status = "okay";
	vref-supply = <&vcc_1v8>;
};
&i2c1 {
	status = "okay";
	//暂时禁用
	//i2c-scl-rising-time-ns = <300>;
	//i2c-scl-falling-time-ns = <15>;
	//clock-frequency = <10000>;

	es8388: es8388@11 {
		status = "okay";
		compatible = "everest,es8388";
		reg = <0x11>;
		clocks = <&cru SCLK_I2S_8CH_OUT>;
		clock-names = "mclk";
		//pinctrl-0 = <>; //跟i2s0冲突,新的不需要引用
		#sound-dai-cells = <0x0>;
		amp-gain-gpios = <&gpio1 RK_PC2 GPIO_ACTIVE_HIGH>;
		spk-ctl-gpios = <&gpio1 RK_PD0 GPIO_ACTIVE_HIGH>;
		pinctrl-names = "default";
		pinctrl-0 = <&amp_gain &spk_ctl>;
		AVDD-supply = <&vcc_es8388>;
		DVDD-supply = <&vcc_es8388>;
		HPVDD-supply = <&vcc_es8388>;
		PVDD-supply = <&vcc_es8388>;
	};
	eeprom: sw201@50 {
		status = "okay";
		compatible = "eeprom,sw201";
		reg = <0x50>;
	};
};
&i2c4 {
	status = "okay";
	i2c-scl-rising-time-ns = <600>;
	i2c-scl-falling-time-ns = <20>;
	mma8452: mma8452@1d {
		status = "okay";
		compatible = "gs_mma8452";
		reg = <0x1d>;
		type = <0x2>;
		irq-gpio = <&gpio4 29 IRQ_TYPE_EDGE_FALLING>;
		pinctrl-names = "default";
		pinctrl-0 = <&mma8452_irq_gpio>;
		irq_enable = <1>;
		poll_delay_ms = <30>;
		layout = <8>;
	};
	//没驱动
	tc358775: tc358775@f {
		compatible = "signway,tc358775-i2c";
		reg = <0xf>;
	};
};
&pwm2 {
	status = "okay";
};
&pwm1 {
	status = "okay";
};
&pwm0 {
	status = "okay";
};
&pwm3 {
	compatible = "rockchip,remotectl-pwm";
	status = "disabled";
	interrupts = <0x0 0x3D 0x4 0x0>;//待引用
	remote_pwm_id = <0x3>;
	handle_cpu_id = <0x1>;
	ir_key1 {
		rockchip,usercode = <0xFF00>;
		rockchip,key_table = <0xBA 0x57 0xAE 0x43 0xB9 0x8B 0xAD 0x42 0xB6 0x3B 0xB2 0x3C 0xAA 0x3D 0xA6 0x3E 0xE6 0x67 0xE3 0x6C 0xF3 0x69 0xA1 0x6A 0xE7 0x1C 0xB8 0x44 0xEA 0x73 0xF6 0x72 0xF8 0x71 0xFB 0x2 0xFA 0x3 0xF9 0x4 0xEB 0x5 0xE9 0x6 0xE8 0x7 0xF7 0x8 0xF5 0x9 0xF4 0xA 0xF1 0xB 0xB5 0xF 0xB7 0xAC 0xA4 0x9E 0xB3 0x40 0xF0 0x3F 0xF2 0x41>;
	};
};
&hdmi {
	status = "okay";
	avdd-0v9-supply = <&vcca0v9_hdmi>;
	avdd-1v8-supply = <&vcc1v8_hdmi>;

	ddc-i2c-scl-high-time-ns = <9625>;
    ddc-i2c-scl-low-time-ns = <10000>;
	//pinctrl-0 = <&hdmi_i2c_xfer>;
	//冲突,和i2c3
	pinctrl-names = "default";
	ddc-i2c-bus = <&i2c3>;
};
//临时开启下试试
//i2c3其实就是 hdmi-i2c-xfer,两者一样
&i2c3 {
	i2c-scl-rising-time-ns = <450>;
	i2c-scl-falling-time-ns = <15>;
	status = "okay";
};
//扁平树直接访问设置
&vopb_out_hdmi {
	status = "okay";
};
&vopl_out_hdmi {
	status = "disabled";
};
//这里默认引用了i2s2,禁用
&hdmi_sound {
	status = "disable";
};
&i2s0 {
	status = "okay";
	//测试
	//pinctrl-0 = <&i2s0_8ch_bus>;
	pinctrl-0 = <&i2s_8ch_mclk_pin>, <&i2s0_8ch_bus>;
	rockchip,playback-channels = <8>;
	rockchip,capture-channels = <8>;
};
//禁用
&i2s2 {
	status = "disable";
	rockchip,bclk-fs = <128>;
};
&vopb_mmu {
	status = "okay";
};
&vopb {
	status = "okay";
	//support-multi-area;
	//assigned-clocks = <&cru DCLK_VOP0_DIV>;
	//assigned-clock-parents = <&cru PLL_VPLL>;
	
};
&vopl_mmu{
	status = "okay";
};
&vopl {
	status = "okay";
	//support-multi-area;
	//assigned-clocks = <&cru DCLK_VOP1_DIV>;
	//assigned-clock-parents = <&cru PLL_CPLL>;
};
//添加 io_domains
&io_domains {
	bt656-supply = <&vcc_1v8>;
	audio-supply = <&vcc_3v0>;
	sdmmc-supply = <&vcc_sdio>;
	gpio1830-supply = <&vcc_3v0>;
	wifi-supply = <&vcc3v3_sys>;
	status = "okay";
};
&pmu_io_domains {
	pmu1830-supply = <&vcc_3v0>;
	status = "okay";
};
&sdmmc {
	status = "okay";
	bus-width = <4>;
	cap-mmc-highspeed;
	cap-sd-highspeed;
	supports-sd;
	clock-frequency = <150000000>;//150000000
	cd-gpios = <&gpio0 RK_PA7 GPIO_ACTIVE_LOW>;
	disable-wp;
	sd-uhs-sdr104;
	pinctrl-names = "default";
	pinctrl-0 = <&sdmmc_clk &sdmmc_cmd &sdmmc_cd &sdmmc_bus4>; //待引用
	vqmmc-supply = <&vcc_sdio>;//待引用
	vmmc-supply = <&vcc_sd>;//待引用
};
&dfi {
	status = "okay";
};
//vdpu@ff650400,ok,但是没节点
&vpu {
	status = "okay";
};
&vpu_mmu {
	status = "okay";
};
&vdec {
	status = "okay";
};
&vdec_mmu {
	status = "okay";
};
//iep@ff670000,ok,但是没节点
&iep_mmu{
	status = "okay";
};
&rga{
	status = "okay";
};
//pcie-phy(没有pcie开启无用),mipi_dsi:待开启.(目前没屏幕)
/*
&dsi{
	status = "disabled";
};*/
&rng {
	status = "okay";
};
